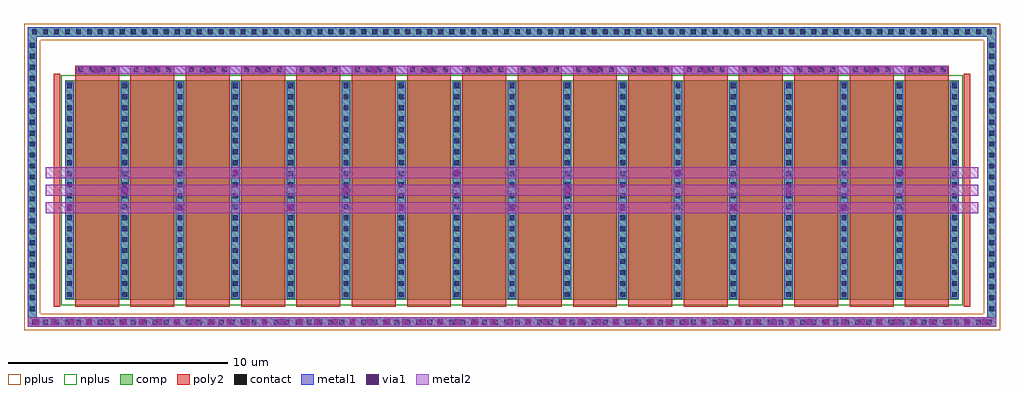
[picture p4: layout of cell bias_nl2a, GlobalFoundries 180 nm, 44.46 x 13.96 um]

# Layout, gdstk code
import gdstk
lib = gdstk.Library(unit=1e-6, precision=1e-09)
def R(c, l, rs):  # rectangles x0, y0, x1, y1
    for r in rs: c.add(gdstk.rectangle(r[:2], r[2:], *l))
def A(c, l, x, y, w, h, nx, ny, dx, dy):  # array of equal rectangles
    R(c, l, [(x+i*dx, y+j*dy, x+i*dx+w, y+j*dy+h) for i in range(nx) for j in range(ny)])
comp = (22, 0)
poly2 = (30, 0)
pplus = (31, 0)
nplus = (32, 0)
contact = (33, 0)
metal1 = (34, 0)
via1 = (35, 0)
metal2 = (36, 0)

bias_nl2a = lib.new_cell('bias_nl2a')
R(bias_nl2a, comp, [(0,0,44.14,0.42), (0,0,0.42,13.64), (43.72,0,44.14,13.64), (1.72,1.22,42.42,11.22), (0,13.22,44.14,13.64)])
A(bias_nl2a, poly2, 2.17, 0.92, 2, 10.96, 16, 1, 2.52, 0)
R(bias_nl2a, poly2, [(1.2,0.92,1.48,11.52), (42.66,0.92,42.94,11.52)])
R(bias_nl2a, pplus, [(-0.16,-0.16,44.3,0.58), (-0.16,-0.16,0.58,13.8), (43.56,-0.16,44.3,13.8), (-0.16,13.06,44.3,13.8)])
R(bias_nl2a, nplus, [(1.54,0.98,42.6,11.46)])
A(bias_nl2a, contact, 0.21, 0.1, 0.22, 0.22, 88, 2, 0.5, 13.22)
A(bias_nl2a, contact, 0.1, 0.71, 0.22, 0.22, 1, 25, 0, 0.5)
A(bias_nl2a, contact, 43.82, 0.71, 0.22, 0.22, 1, 25, 0, 0.5)
A(bias_nl2a, contact, 1.8, 1.36, 0.22, 0.22, 17, 20, 2.52, 0.5)
A(bias_nl2a, contact, 2.31, 11.59, 0.22, 0.22, 4, 1, 0.5, 0)
A(bias_nl2a, contact, 4.83, 11.59, 0.22, 0.22, 4, 1, 0.5, 0)
A(bias_nl2a, contact, 7.35, 11.59, 0.22, 0.22, 4, 1, 0.5, 0)
A(bias_nl2a, contact, 9.87, 11.59, 0.22, 0.22, 4, 1, 0.5, 0)
A(bias_nl2a, contact, 12.39, 11.59, 0.22, 0.22, 4, 1, 0.5, 0)
A(bias_nl2a, contact, 14.91, 11.59, 0.22, 0.22, 4, 1, 0.5, 0)
A(bias_nl2a, contact, 17.43, 11.59, 0.22, 0.22, 4, 1, 0.5, 0)
A(bias_nl2a, contact, 19.95, 11.59, 0.22, 0.22, 4, 1, 0.5, 0)
A(bias_nl2a, contact, 22.47, 11.59, 0.22, 0.22, 4, 1, 0.5, 0)
A(bias_nl2a, contact, 24.99, 11.59, 0.22, 0.22, 4, 1, 0.5, 0)
A(bias_nl2a, contact, 27.51, 11.59, 0.22, 0.22, 4, 1, 0.5, 0)
A(bias_nl2a, contact, 30.03, 11.59, 0.22, 0.22, 4, 1, 0.5, 0)
A(bias_nl2a, contact, 32.55, 11.59, 0.22, 0.22, 4, 1, 0.5, 0)
A(bias_nl2a, contact, 35.07, 11.59, 0.22, 0.22, 4, 1, 0.5, 0)
A(bias_nl2a, contact, 37.59, 11.59, 0.22, 0.22, 4, 1, 0.5, 0)
A(bias_nl2a, contact, 40.11, 11.59, 0.22, 0.22, 4, 1, 0.5, 0)
A(bias_nl2a, metal1, 1.72, 1.28, 0.38, 9.88, 17, 1, 2.52, 0)
R(bias_nl2a, metal1, [(0,0,44.14,0.42), (0,0,0.42,13.64), (43.72,0,44.14,13.64), (2.23,11.51,41.91,11.89), (0,13.22,44.14,13.64)])
A(bias_nl2a, via1, 0.27, 0.08, 0.26, 0.26, 55, 1, 0.8, 0)
A(bias_nl2a, via1, 1.78, 5.29, 0.26, 0.26, 9, 1, 5.04, 0)
A(bias_nl2a, via1, 4.3, 6.09, 0.26, 0.26, 4, 1, 10.08, 0)
A(bias_nl2a, via1, 9.34, 6.89, 0.26, 0.26, 4, 1, 10.08, 0)
A(bias_nl2a, via1, 3.04, 11.57, 0.26, 0.26, 16, 1, 2.52, 0)
A(bias_nl2a, metal2, 0.82, 5.17, 42.5, 0.5, 1, 3, 0, 0.8)
R(bias_nl2a, metal2, [(0,0,44.14,0.42), (2.23,11.51,41.91,11.89)])

lib.write_gds('bias_nl2a.gds')
